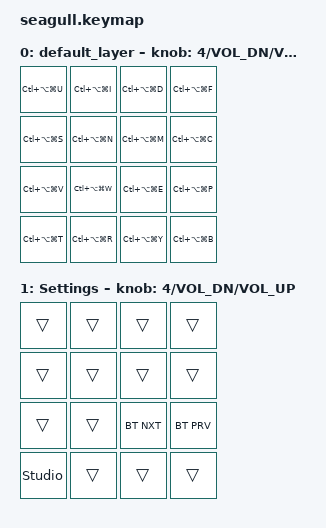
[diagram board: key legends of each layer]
#include <behaviors.dtsi>
#include <dt-bindings/zmk/bt.h>
#include <dt-bindings/zmk/keys.h>

/ {
    combos {
        compatible = "zmk,combos";

        Layer_1 {
            bindings = <&mo 1>;
            key-positions = <0 1>;
        };
    };

    keymap {
        compatible = "zmk,keymap";

        // ===== MAIN HYPER MACRO LAYER =====
        default_layer {
            bindings = <
                &kp LC(LA(LG(U)))   &kp LC(LA(LG(I)))   &kp LC(LA(LG(D)))   &kp LC(LA(LG(F)))
                &kp LC(LA(LG(S)))   &kp LC(LA(LG(N)))   &kp LC(LA(LG(M)))   &kp LC(LA(LG(C)))
                &kp LC(LA(LG(V)))   &kp LC(LA(LG(W)))   &kp LC(LA(LG(E)))   &kp LC(LA(LG(P)))
                &kp LC(LA(LG(T)))   &kp LC(LA(LG(R)))   &kp LC(LA(LG(Y)))   &kp LC(LA(LG(B)))
            >;

            // Premium-feel encoder
            sensor-bindings = <
                &inc_dec_kp 4 C_VOL_DN C_VOL_UP
                &inc_dec_kp 3 PG_DN PG_UP
            >;
        };

        // ===== SETTINGS / BLUETOOTH LAYER =====
        Settings {
            bindings = <
                &trans        &trans        &trans       &trans
                &trans        &trans        &trans       &trans
                &trans        &trans        &bt BT_NXT   &bt BT_PRV
                &studio_unlock &trans       &trans       &trans
            >;

            sensor-bindings = <
                &inc_dec_kp 4 C_VOL_DN C_VOL_UP
            >;
        };
    };
};
